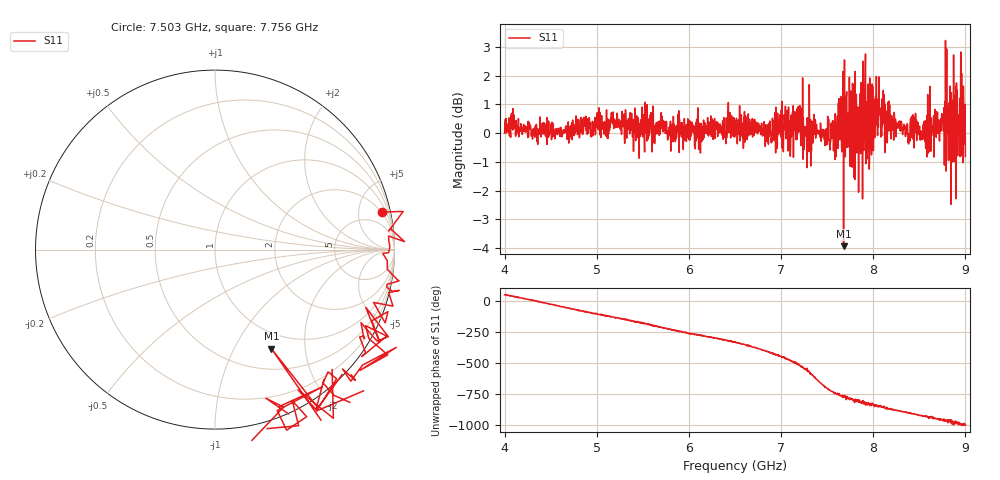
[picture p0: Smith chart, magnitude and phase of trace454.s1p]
! Created with skrf 1.8.0 (http://scikit-rf.org).
# Hz S RI R 50.0
!freq ReS11 ImS11
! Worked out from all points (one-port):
!   1601 points, 4 GHz to 9 GHz, reference 50 ohm
!   lowest |S11| = -3.9 dB at 7.678 GHz (marker M1), VSWR 4.49, Z = 38.5 - j71.3 ohm
!   |S11| at or under -10 dB: nowhere
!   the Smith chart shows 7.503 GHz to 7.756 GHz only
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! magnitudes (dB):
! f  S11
! 4 GHz  0.0
! 4.625 GHz  -0.1
! 5.25 GHz  0.2
! 5.875 GHz  0.3
! 6.5 GHz  0.4
! 7.125 GHz  0.7
! 7.209 GHz  0.1
! 7.262 GHz  0.2
! 7.512 GHz  -0.1
! 7.594 GHz  -0.8
! 7.647 GHz  1.3
! 7.678 GHz  -3.9
! 7.719 GHz  -0.3
! 7.75 GHz  -1.2
! 7.775 GHz  1.7
! 7.8 GHz  -1.6
! 7.859 GHz  1.4
! 7.928 GHz  0.9
! 7.944 GHz  1.7
! 7.981 GHz  -0.8
! 8.047 GHz  -0.1
! 8.375 GHz  0.0
! 8.441 GHz  -0.5
! 8.619 GHz  -0.6
! 8.8 GHz  0.3
! 8.838 GHz  0.7
! 8.959 GHz  2.1
! 9 GHz  -0.8
